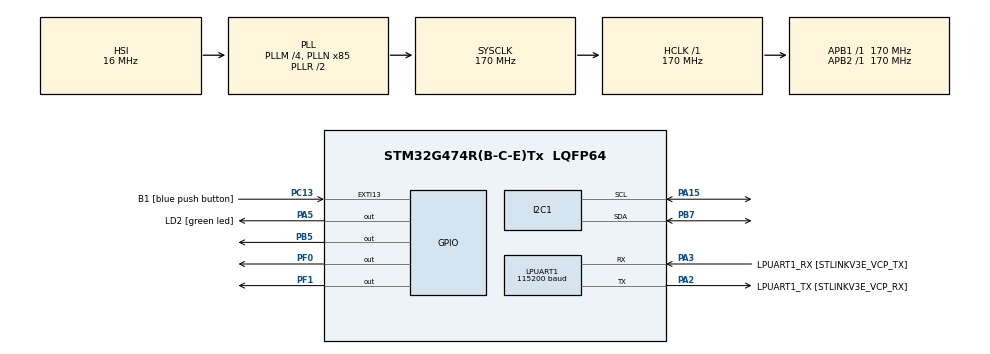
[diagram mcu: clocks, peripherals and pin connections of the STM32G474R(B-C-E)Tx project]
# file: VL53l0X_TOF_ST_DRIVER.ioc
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I2C1.Timing=0x30A0A7FB
LPUART1.BaudRate=115200
LPUART1.WordLength=UART_WORDLENGTH_8B
Mcu.Family=STM32G4
Mcu.Name=STM32G474R(B-C-E)Tx
Mcu.Package=LQFP64
NVIC.EXTI15_10_IRQn=true\:0\:0\:false\:false\:true\:true\:true\:true
NVIC.PriorityGroup=NVIC_PRIORITYGROUP_4
PA13.GPIO_Label=T_SWDIO
PA13.Mode=Serial_Wire
PA13.Signal=SYS_JTMS-SWDIO
PA14.GPIO_Label=T_SWCLK
PA14.Mode=Serial_Wire
PA14.Signal=SYS_JTCK-SWCLK
PA15.Mode=I2C
PA15.Signal=I2C1_SCL
PA2.GPIO_Label=LPUART1_TX [STLINKV3E_VCP_RX]
PA2.Mode=Asynchronous
PA2.Signal=LPUART1_TX
PA3.GPIO_Label=LPUART1_RX [STLINKV3E_VCP_TX]
PA3.Mode=Asynchronous
PA3.Signal=LPUART1_RX
PA5.GPIO_Label=LD2 [green led]
PA5.Signal=GPIO_Output
PB3.GPIO_Label=T_SWO
PB3.Signal=SYS_JTDO-SWO
PB5.Signal=GPIO_Output
PB7.Mode=I2C
PB7.Signal=I2C1_SDA
PC13.GPIO_Label=B1 [blue push button]
PC13.Signal=GPXTI13
PC14-OSC32_IN.Mode=LSE-External-Oscillator
PC14-OSC32_IN.Signal=RCC_OSC32_IN
PC15-OSC32_OUT.Mode=LSE-External-Oscillator
PC15-OSC32_OUT.Signal=RCC_OSC32_OUT
PF0-OSC_IN.Signal=GPIO_Output
PF1-OSC_OUT.Signal=GPIO_Output
ProjectManager.HeapSize=0x200
ProjectManager.StackSize=0x400
ProjectManager.TargetToolchain=STM32CubeIDE
RCC.ADC12Freq_Value=170000000
RCC.ADC345Freq_Value=170000000
RCC.AHBFreq_Value=170000000
RCC.APB1Freq_Value=170000000
RCC.APB1TimFreq_Value=170000000
RCC.APB2Freq_Value=170000000
RCC.APB2TimFreq_Value=170000000
RCC.CortexFreq_Value=170000000
RCC.EXTERNAL_CLOCK_VALUE=12288000
RCC.HCLKFreq_Value=170000000
RCC.HSE_VALUE=24000000
RCC.HSI48_VALUE=48000000
RCC.HSI_VALUE=16000000
RCC.PLLM=RCC_PLLM_DIV4
RCC.PLLN=85
RCC.RTCClockSelection=RCC_RTCCLKSOURCE_LSE
RCC.SYSCLKFreq_VALUE=170000000
RCC.SYSCLKSource=RCC_SYSCLKSOURCE_PLLCLK
RCC.USBFreq_Value=170000000
RCC.VCOOutputFreq_Value=340000000
VP_SYS_VS_DBSignals.Mode=DisableDeadBatterySignals
board=NUCLEO-G474RE

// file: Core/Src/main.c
/* USER CODE BEGIN Header */
/**
  ******************************************************************************
  * @file           : main.c
  * @brief          : Main program body
  ******************************************************************************
  * @attention
  *
  * Copyright (c) 2024 STMicroelectronics.
  * All rights reserved.
  *
  * This software is licensed under terms that can be found in the LICENSE file
  * in the root directory of this software component.
  * If no LICENSE file comes with this software, it is provided AS-IS.
  *
  ******************************************************************************
  */
/* USER CODE END Header */
#include "main.h"

/* USER CODE BEGIN Includes */
#include "vl53l0x_platform.h"
/* USER CODE END Includes */

/* USER CODE BEGIN PV */
extern I2C_HandleTypeDef hi2c1;

extern UART_HandleTypeDef hlpuart1;
/* USER CODE END PV */

void SystemClock_Config(void);
static void MX_GPIO_Init(void);
static void MX_LPUART1_UART_Init(void);
static void MX_I2C1_Init(void);

/* USER CODE BEGIN 0 */

VL53L0X_Error rangingTest(VL53L0X_Dev_t *pMyDevice)
{
	uint8_t MSG[25] = {' '};
    VL53L0X_Error Status = VL53L0X_ERROR_NONE;
    VL53L0X_RangingMeasurementData_t    RangingMeasurementData;
    int i;
    FixPoint1616_t LimitCheckCurrent;
    uint32_t refSpadCount;
    uint8_t isApertureSpads;
    uint8_t VhvSettings;
    uint8_t PhaseCal;

    if(Status == VL53L0X_ERROR_NONE)
    {
  	  sprintf(MSG, "Call of VL53L0X_StaticInit\n");
  	  HAL_UART_Transmit(&hlpuart1, MSG, sizeof(MSG) , 100);
        Status = VL53L0X_StaticInit(pMyDevice); // Device Initialization
    }

    if(Status == VL53L0X_ERROR_NONE)
    {
  	  sprintf(MSG, "Call of VL53L0X_PrefInitCalibration\n");
  	  HAL_UART_Transmit(&hlpuart1, MSG, sizeof(MSG) , 100);
        Status = VL53L0X_PerformRefCalibration(pMyDevice,
        		&VhvSettings, &PhaseCal); // Device Initialization
    }

    if(Status == VL53L0X_ERROR_NONE)
    {
  	  sprintf(MSG, "Call of VL53L0X_PrefRefSpadManagment\n");
  	  HAL_UART_Transmit(&hlpuart1, MSG, sizeof(MSG) , 100);
        Status = VL53L0X_PerformRefSpadManagement(pMyDevice,
        		&refSpadCount, &isApertureSpads); // Device Initialization
        printf ("refSpadCount = %d, isApertureSpads = %d\n", refSpadCount, isApertureSpads);
    }

    if(Status == VL53L0X_ERROR_NONE)
    {

        // no need to do this when we use VL53L0X_PerformSingleRangingMeasurement
  	  sprintf(MSG, "Call of VL53L0X_setMode\n");
  	  HAL_UART_Transmit(&hlpuart1, MSG, sizeof(MSG) , 100);
        Status = VL53L0X_SetDeviceMode(pMyDevice, VL53L0X_DEVICEMODE_SINGLE_RANGING); // Setup in single ranging mode
    }

    // Enable/Disable Sigma and Signal check
    if (Status == VL53L0X_ERROR_NONE) {
        Status = VL53L0X_SetLimitCheckEnable(pMyDevice,
        		VL53L0X_CHECKENABLE_SIGMA_FINAL_RANGE, 1);
    }
    if (Status == VL53L0X_ERROR_NONE) {
        Status = VL53L0X_SetLimitCheckEnable(pMyDevice,
        		VL53L0X_CHECKENABLE_SIGNAL_RATE_FINAL_RANGE, 1);
    }

    if (Status == VL53L0X_ERROR_NONE) {
        Status = VL53L0X_SetLimitCheckEnable(pMyDevice,
        		VL53L0X_CHECKENABLE_RANGE_IGNORE_THRESHOLD, 1);
    }

    if (Status == VL53L0X_ERROR_NONE) {
        Status = VL53L0X_SetLimitCheckValue(pMyDevice,
        		VL53L0X_CHECKENABLE_RANGE_IGNORE_THRESHOLD,
        		(FixPoint1616_t)(1.5*0.023*65536));
    }

    /*
     *  Step  4 : Test ranging mode
     */
while(1)
{
    if(Status == VL53L0X_ERROR_NONE)
    {
        for(i=0;i<10;i++){
        	  sprintf(MSG, "Call of VL53L0X_PerformSingleRangingMeasurement\n");
        	  HAL_UART_Transmit(&hlpuart1, MSG, sizeof(MSG) , 100);
            Status = VL53L0X_PerformSingleRangingMeasurement(pMyDevice,
            		&RangingMeasurementData);

            VL53L0X_GetLimitCheckCurrent(pMyDevice,
            		VL53L0X_CHECKENABLE_RANGE_IGNORE_THRESHOLD, &LimitCheckCurrent);

//            printf("RANGE IGNORE THRESHOLD: %f\n\n", (float)LimitCheckCurrent/65536.0);

            if (Status != VL53L0X_ERROR_NONE) break;
        	  sprintf(MSG, "Measured distance: %i\n", RangingMeasurementData.RangeMilliMeter);
        	  HAL_UART_Transmit(&hlpuart1, MSG, sizeof(MSG) , 100);
        	  HAL_Delay(100);
        }
    }
    //sprintf(MSG, "Message in While\n");
    //HAL_UART_Transmit(&hlpuart1, MSG, sizeof(MSG) , 100);
}
    return Status;
}

/* USER CODE END 0 */

int main(void)
{

  /* MCU Configuration--------------------------------------------------------*/

  /* Reset of all peripherals, Initializes the Flash interface and the Systick. */
  HAL_Init();

  /* Configure the system clock */
  SystemClock_Config();

  /* Initialize all configured peripherals */
  MX_GPIO_Init();
  MX_LPUART1_UART_Init();
  MX_I2C1_Init();
  /* USER CODE BEGIN 2 */
  uint8_t MSG[35] = {'\0'};
  /* USER CODE END 2 */

  /* Infinite loop */
  /* USER CODE BEGIN WHILE */

  VL53L0X_Error Status = VL53L0X_ERROR_NONE;
  VL53L0X_Dev_t MyDevice;
  VL53L0X_Dev_t *pMyDevice = &MyDevice;
  VL53L0X_Version_t                   Version;
  VL53L0X_Version_t                  *pVersion   = &Version;
  VL53L0X_DeviceInfo_t                DeviceInfo;

  int32_t status_int;
  int32_t init_done = 0;
  int NecleoComStatus = 0;
  int NecleoAutoCom = 1;
  pMyDevice->I2cDevAddr      = 0x29;
  pMyDevice->comms_type      =  1;
  pMyDevice->comms_speed_khz =  100;

  if(Status == VL53L0X_ERROR_NONE)
  {
	  sprintf(MSG, "Call of VL53L0X_DataInit\n");
	  HAL_UART_Transmit(&hlpuart1, MSG, sizeof(MSG) , 100);
	  Status = VL53L0X_DataInit(&MyDevice); // Data initialization
  }

  if(Status == VL53L0X_ERROR_NONE)
  {
      Status = rangingTest(pMyDevice);
  }
  while (1)
  {
    /* USER CODE END WHILE */

    /* USER CODE BEGIN 3 */
	  sprintf(MSG, "Done Setup ...\n");
	  HAL_UART_Transmit(&hlpuart1, MSG, sizeof(MSG) , 100);
	  HAL_Delay(100);
  }
  /* USER CODE END 3 */
}

void SystemClock_Config(void)
{
  RCC_OscInitTypeDef RCC_OscInitStruct = {0};
  RCC_ClkInitTypeDef RCC_ClkInitStruct = {0};

  /** Configure the main internal regulator output voltage
  */
  HAL_PWREx_ControlVoltageScaling(PWR_REGULATOR_VOLTAGE_SCALE1_BOOST);

  /** Initializes the RCC Oscillators according to the specified parameters
  * in the RCC_OscInitTypeDef structure.
  */
  RCC_OscInitStruct.OscillatorType = RCC_OSCILLATORTYPE_HSI;
  RCC_OscInitStruct.HSIState = RCC_HSI_ON;
  RCC_OscInitStruct.HSICalibrationValue = RCC_HSICALIBRATION_DEFAULT;
  RCC_OscInitStruct.PLL.PLLState = RCC_PLL_ON;
  RCC_OscInitStruct.PLL.PLLSource = RCC_PLLSOURCE_HSI;
  RCC_OscInitStruct.PLL.PLLM = RCC_PLLM_DIV4;
  RCC_OscInitStruct.PLL.PLLN = 85;
  RCC_OscInitStruct.PLL.PLLP = RCC_PLLP_DIV2;
  RCC_OscInitStruct.PLL.PLLQ = RCC_PLLQ_DIV2;
  RCC_OscInitStruct.PLL.PLLR = RCC_PLLR_DIV2;
  if (HAL_RCC_OscConfig(&RCC_OscInitStruct) != HAL_OK)
  {
    Error_Handler();
  }

  /** Initializes the CPU, AHB and APB buses clocks
  */
  RCC_ClkInitStruct.ClockType = RCC_CLOCKTYPE_HCLK|RCC_CLOCKTYPE_SYSCLK
                              |RCC_CLOCKTYPE_PCLK1|RCC_CLOCKTYPE_PCLK2;
  RCC_ClkInitStruct.SYSCLKSource = RCC_SYSCLKSOURCE_PLLCLK;
  RCC_ClkInitStruct.AHBCLKDivider = RCC_SYSCLK_DIV1;
  RCC_ClkInitStruct.APB1CLKDivider = RCC_HCLK_DIV1;
  RCC_ClkInitStruct.APB2CLKDivider = RCC_HCLK_DIV1;

  if (HAL_RCC_ClockConfig(&RCC_ClkInitStruct, FLASH_LATENCY_4) != HAL_OK)
  {
    Error_Handler();
  }
}

static void MX_I2C1_Init(void)
{

  hi2c1.Instance = I2C1;
  hi2c1.Init.Timing = 0x30A0A7FB;
  hi2c1.Init.OwnAddress1 = 0;
  hi2c1.Init.AddressingMode = I2C_ADDRESSINGMODE_7BIT;
  hi2c1.Init.DualAddressMode = I2C_DUALADDRESS_DISABLE;
  hi2c1.Init.OwnAddress2 = 0;
  hi2c1.Init.OwnAddress2Masks = I2C_OA2_NOMASK;
  hi2c1.Init.GeneralCallMode = I2C_GENERALCALL_DISABLE;
  hi2c1.Init.NoStretchMode = I2C_NOSTRETCH_DISABLE;
  if (HAL_I2C_Init(&hi2c1) != HAL_OK)
  {
    Error_Handler();
  }

  /** Configure Analogue filter
  */
  if (HAL_I2CEx_ConfigAnalogFilter(&hi2c1, I2C_ANALOGFILTER_ENABLE) != HAL_OK)
  {
    Error_Handler();
  }

  /** Configure Digital filter
  */
  if (HAL_I2CEx_ConfigDigitalFilter(&hi2c1, 0) != HAL_OK)
  {
    Error_Handler();
  }

}

static void MX_LPUART1_UART_Init(void)
{

  hlpuart1.Instance = LPUART1;
  hlpuart1.Init.BaudRate = 115200;
  hlpuart1.Init.WordLength = UART_WORDLENGTH_8B;
  hlpuart1.Init.StopBits = UART_STOPBITS_1;
  hlpuart1.Init.Parity = UART_PARITY_NONE;
  hlpuart1.Init.Mode = UART_MODE_TX_RX;
  hlpuart1.Init.HwFlowCtl = UART_HWCONTROL_NONE;
  hlpuart1.Init.OneBitSampling = UART_ONE_BIT_SAMPLE_DISABLE;
  hlpuart1.Init.ClockPrescaler = UART_PRESCALER_DIV1;
  hlpuart1.AdvancedInit.AdvFeatureInit = UART_ADVFEATURE_NO_INIT;
  if (HAL_UART_Init(&hlpuart1) != HAL_OK)
  {
    Error_Handler();
  }
  if (HAL_UARTEx_SetTxFifoThreshold(&hlpuart1, UART_TXFIFO_THRESHOLD_1_8) != HAL_OK)
  {
    Error_Handler();
  }
  if (HAL_UARTEx_SetRxFifoThreshold(&hlpuart1, UART_RXFIFO_THRESHOLD_1_8) != HAL_OK)
  {
    Error_Handler();
  }
  if (HAL_UARTEx_DisableFifoMode(&hlpuart1) != HAL_OK)
  {
    Error_Handler();
  }

}

static void MX_GPIO_Init(void)
{
  GPIO_InitTypeDef GPIO_InitStruct = {0};

  /* GPIO Ports Clock Enable */
  __HAL_RCC_GPIOC_CLK_ENABLE();
  __HAL_RCC_GPIOF_CLK_ENABLE();
  __HAL_RCC_GPIOA_CLK_ENABLE();
  __HAL_RCC_GPIOB_CLK_ENABLE();

  /*Configure GPIO pin Output Level */
  HAL_GPIO_WritePin(GPIOF, GPIO_PIN_0|GPIO_PIN_1, GPIO_PIN_SET);

  /*Configure GPIO pin Output Level */
  HAL_GPIO_WritePin(LD2_GPIO_Port, LD2_Pin, GPIO_PIN_RESET);

  /*Configure GPIO pin Output Level */
  HAL_GPIO_WritePin(GPIOB, GPIO_PIN_5, GPIO_PIN_RESET);

  /*Configure GPIO pin : B1_Pin */
  GPIO_InitStruct.Pin = B1_Pin;
  GPIO_InitStruct.Mode = GPIO_MODE_IT_RISING;
  GPIO_InitStruct.Pull = GPIO_NOPULL;
  HAL_GPIO_Init(B1_GPIO_Port, &GPIO_InitStruct);

  /*Configure GPIO pins : PF0 PF1 */ //These are the Pins Anthony thought he Configured for
  GPIO_InitStruct.Pin = GPIO_PIN_0|GPIO_PIN_1;
  GPIO_InitStruct.Mode = GPIO_MODE_OUTPUT_PP;
  GPIO_InitStruct.Pull = GPIO_NOPULL;
  GPIO_InitStruct.Speed = GPIO_SPEED_FREQ_LOW;
  HAL_GPIO_Init(GPIOF, &GPIO_InitStruct);

  /*Configure GPIO pin : LD2_Pin */
  GPIO_InitStruct.Pin = LD2_Pin;
  GPIO_InitStruct.Mode = GPIO_MODE_OUTPUT_PP;
  GPIO_InitStruct.Pull = GPIO_NOPULL;
  GPIO_InitStruct.Speed = GPIO_SPEED_FREQ_LOW;
  HAL_GPIO_Init(LD2_GPIO_Port, &GPIO_InitStruct);

  /*Configure GPIO pin : PB5 */
  GPIO_InitStruct.Pin = GPIO_PIN_5;
  GPIO_InitStruct.Mode = GPIO_MODE_OUTPUT_PP;
  GPIO_InitStruct.Pull = GPIO_NOPULL;
  GPIO_InitStruct.Speed = GPIO_SPEED_FREQ_LOW;
  HAL_GPIO_Init(GPIOB, &GPIO_InitStruct);

  /* EXTI interrupt init*/
  HAL_NVIC_SetPriority(EXTI15_10_IRQn, 0, 0);
  HAL_NVIC_EnableIRQ(EXTI15_10_IRQn);

}

void Error_Handler(void)
{
  __disable_irq();
  while (1)
  {
  }
}
